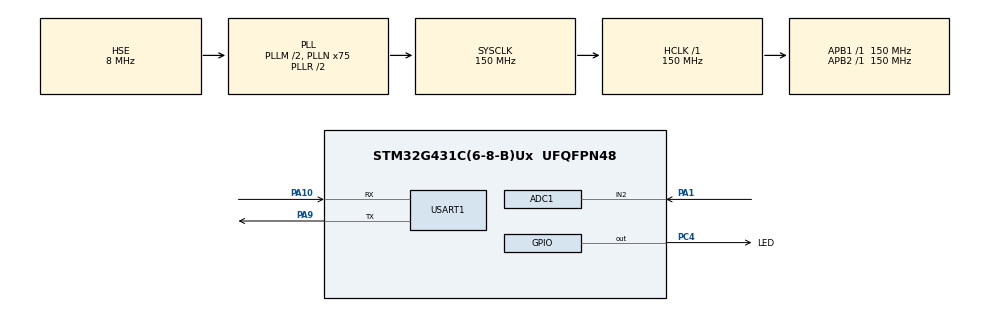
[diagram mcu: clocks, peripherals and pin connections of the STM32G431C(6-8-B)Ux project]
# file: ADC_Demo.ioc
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ADC1.Channel-0\#ChannelRegularConversion=ADC_CHANNEL_2
ADC1.Channel-4\#ChannelRegularConversion=ADC_CHANNEL_VREFINT
ADC1.Channel-5\#ChannelRegularConversion=ADC_CHANNEL_TEMPSENSOR_ADC1
ADC1.ClockPrescaler=ADC_CLOCK_ASYNC_DIV10
ADC1.NbrOfConversion=3
ADC1.NbrOfConversionFlag=1
ADC1.OffsetNumber-0\#ChannelRegularConversion=ADC_OFFSET_NONE
ADC1.OffsetNumber-4\#ChannelRegularConversion=ADC_OFFSET_NONE
ADC1.OffsetNumber-5\#ChannelRegularConversion=ADC_OFFSET_NONE
ADC1.Rank-0\#ChannelRegularConversion=1
ADC1.Rank-4\#ChannelRegularConversion=2
ADC1.Rank-5\#ChannelRegularConversion=3
ADC1.SamplingTime-0\#ChannelRegularConversion=ADC_SAMPLETIME_247CYCLES_5
ADC1.SamplingTime-4\#ChannelRegularConversion=ADC_SAMPLETIME_247CYCLES_5
ADC1.SamplingTime-5\#ChannelRegularConversion=ADC_SAMPLETIME_247CYCLES_5
ADC1.master=1
Mcu.Family=STM32G4
Mcu.Name=STM32G431C(6-8-B)Ux
Mcu.Package=UFQFPN48
NVIC.PriorityGroup=NVIC_PRIORITYGROUP_4
PA1.Mode=IN2-Single-Ended
PA1.Signal=ADC1_IN2
PA10.Mode=Asynchronous
PA10.Signal=USART1_RX
PA13.Mode=Serial_Wire
PA13.Signal=SYS_JTMS-SWDIO
PA14.Mode=Serial_Wire
PA14.Signal=SYS_JTCK-SWCLK
PA9.Mode=Asynchronous
PA9.Signal=USART1_TX
PC4.GPIO_Label=LED
PC4.GPIO_Speed=GPIO_SPEED_FREQ_VERY_HIGH
PC4.PinState=GPIO_PIN_SET
PC4.Signal=GPIO_Output
PF0-OSC_IN.Mode=HSE-External-Oscillator
PF0-OSC_IN.Signal=RCC_OSC_IN
PF1-OSC_OUT.Mode=HSE-External-Oscillator
PF1-OSC_OUT.Signal=RCC_OSC_OUT
ProjectManager.HeapSize=0x200
ProjectManager.StackSize=0x400
ProjectManager.TargetToolchain=MDK-ARM V5.32
RCC.ADC12CLockSelection=RCC_ADC12CLKSOURCE_PLL
RCC.ADC12Freq_Value=30000000
RCC.AHBFreq_Value=150000000
RCC.APB1Freq_Value=150000000
RCC.APB1TimFreq_Value=150000000
RCC.APB2Freq_Value=150000000
RCC.APB2TimFreq_Value=150000000
RCC.CortexFreq_Value=150000000
RCC.EXTERNAL_CLOCK_VALUE=12288000
RCC.HCLKFreq_Value=150000000
RCC.HSE_VALUE=8000000
RCC.HSI48_VALUE=48000000
RCC.HSI_VALUE=16000000
RCC.LSE_VALUE=32768
RCC.PLLM=RCC_PLLM_DIV2
RCC.PLLN=75
RCC.PLLP=RCC_PLLP_DIV10
RCC.PLLSourceVirtual=RCC_PLLSOURCE_HSE
RCC.SYSCLKFreq_VALUE=150000000
RCC.SYSCLKSource=RCC_SYSCLKSOURCE_PLLCLK
RCC.USBFreq_Value=150000000
RCC.VCOOutputFreq_Value=300000000
USART1.VirtualMode-Asynchronous=VM_ASYNC
VP_ADC1_TempSens_Input.Mode=IN-TempSens
VP_ADC1_Vref_Input.Mode=IN-Vrefint
VP_SYS_VS_DBSignals.Mode=DisableDeadBatterySignals
board=custom

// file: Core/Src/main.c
/* USER CODE BEGIN Header */
/**
  ******************************************************************************
  * @file           : main.c
  * @brief          : Main program body
  ******************************************************************************
  * @attention
  *
  * Copyright (c) 2023 STMicroelectronics.
  * All rights reserved.
  *
  * This software is licensed under terms that can be found in the LICENSE file
  * in the root directory of this software component.
  * If no LICENSE file comes with this software, it is provided AS-IS.
  *
  ******************************************************************************
  */
/* USER CODE END Header */
#include "main.h"
#include "adc.h"
#include "usart.h"
#include "gpio.h"

/* USER CODE BEGIN Includes */
#include <stdio.h>
/* USER CODE END Includes */

/* USER CODE BEGIN PV */
uint32_t ADC_DR_VALUE[3];
int VBUS,TEMP,VREF;
uint8_t i;
/* USER CODE END PV */

void SystemClock_Config(void);
/* USER CODE BEGIN PFP */
void ADC_TEST(void);
/* USER CODE END PFP */

int main(void)
{

  /* MCU Configuration--------------------------------------------------------*/

  /* Reset of all peripherals, Initializes the Flash interface and the Systick. */
  HAL_Init();

  /* Configure the system clock */
  SystemClock_Config();

  /* Initialize all configured peripherals */
  MX_GPIO_Init();
  MX_ADC1_Init();
  MX_USART1_UART_Init();
  /* USER CODE BEGIN 2 */
	printf("ADC_TEST \r\n");
  /* USER CODE END 2 */

  /* Infinite loop */
  /* USER CODE BEGIN WHILE */
  while (1)
  {
		HAL_GPIO_TogglePin(LED_GPIO_Port,LED_Pin);
		HAL_Delay(500);
		ADC_TEST();
    /* USER CODE END WHILE */

  }
}

void SystemClock_Config(void)
{
  RCC_OscInitTypeDef RCC_OscInitStruct = {0};
  RCC_ClkInitTypeDef RCC_ClkInitStruct = {0};

  /** Configure the main internal regulator output voltage
  */
  HAL_PWREx_ControlVoltageScaling(PWR_REGULATOR_VOLTAGE_SCALE1);

  /** Initializes the RCC Oscillators according to the specified parameters
  * in the RCC_OscInitTypeDef structure.
  */
  RCC_OscInitStruct.OscillatorType = RCC_OSCILLATORTYPE_HSE;
  RCC_OscInitStruct.HSEState = RCC_HSE_ON;
  RCC_OscInitStruct.PLL.PLLState = RCC_PLL_ON;
  RCC_OscInitStruct.PLL.PLLSource = RCC_PLLSOURCE_HSE;
  RCC_OscInitStruct.PLL.PLLM = RCC_PLLM_DIV2;
  RCC_OscInitStruct.PLL.PLLN = 75;
  RCC_OscInitStruct.PLL.PLLP = RCC_PLLP_DIV10;
  RCC_OscInitStruct.PLL.PLLQ = RCC_PLLQ_DIV2;
  RCC_OscInitStruct.PLL.PLLR = RCC_PLLR_DIV2;
  if (HAL_RCC_OscConfig(&RCC_OscInitStruct) != HAL_OK)
  {
    Error_Handler();
  }

  /** Initializes the CPU, AHB and APB buses clocks
  */
  RCC_ClkInitStruct.ClockType = RCC_CLOCKTYPE_HCLK|RCC_CLOCKTYPE_SYSCLK
                              |RCC_CLOCKTYPE_PCLK1|RCC_CLOCKTYPE_PCLK2;
  RCC_ClkInitStruct.SYSCLKSource = RCC_SYSCLKSOURCE_PLLCLK;
  RCC_ClkInitStruct.AHBCLKDivider = RCC_SYSCLK_DIV1;
  RCC_ClkInitStruct.APB1CLKDivider = RCC_HCLK_DIV1;
  RCC_ClkInitStruct.APB2CLKDivider = RCC_HCLK_DIV1;

  if (HAL_RCC_ClockConfig(&RCC_ClkInitStruct, FLASH_LATENCY_4) != HAL_OK)
  {
    Error_Handler();
  }
}

/* USER CODE BEGIN 4 */
void ADC_TEST(void)
{
	for(i=0;i<(sizeof(ADC_DR_VALUE)/sizeof(uint32_t));i++)
	{
	  HAL_ADC_Start(&hadc1);
		HAL_ADC_PollForConversion(&hadc1,100);
		ADC_DR_VALUE[i] = HAL_ADC_GetValue(&hadc1);
	}
	HAL_ADC_Stop(&hadc1);
	VBUS=((ADC_DR_VALUE[0] * 3300) / 4096)*(6);// 240.2/40.2
	VREF=__LL_ADC_CALC_VREFANALOG_VOLTAGE(ADC_DR_VALUE[1],LL_ADC_RESOLUTION_12B);
	TEMP=__HAL_ADC_CALC_TEMPERATURE(VREF,ADC_DR_VALUE[2],ADC_RESOLUTION_12B);
	printf("VBUS:%d mV ,VREF:%d mV ,TEMP:%d C \r\n",VBUS,VREF,TEMP);
}
/* USER CODE END 4 */

void Error_Handler(void)
{
  __disable_irq();
  while (1)
  {
  }
}
